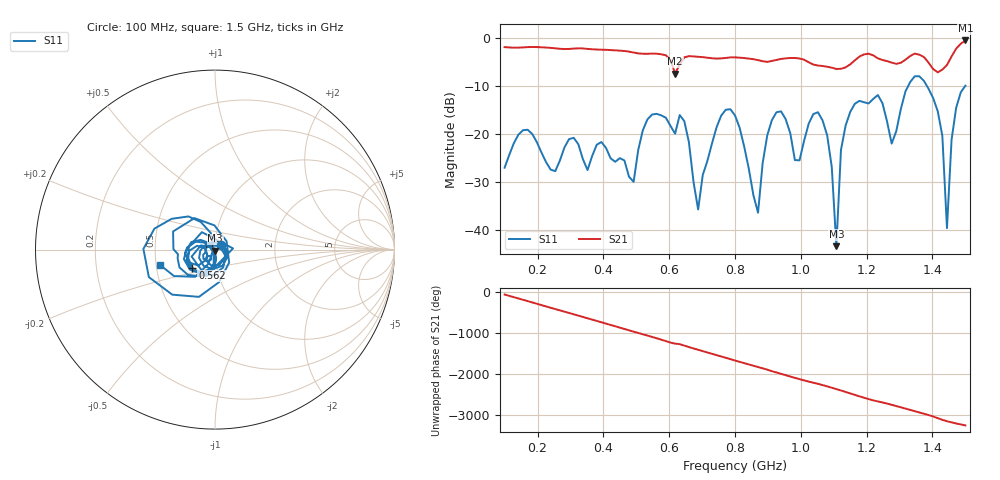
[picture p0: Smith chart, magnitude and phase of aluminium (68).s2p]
! NanoVNA-App
! Date: 2025-09-25 14:55:48
! Start: 100MHz Stop: 1,5GHz Points: 101
! S-Parameter data: F S11 S21 S12 S22
# Hz S RI R 50
!  Frequency  S11_Real  S11_Imag  S21_Real  S21_Imag  S12_Real  S12_Imag  S22_Real  S22_Imag
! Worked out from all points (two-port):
!   101 points, 100 MHz to 1.5 GHz, reference 50 ohm
!   highest |S21| = -0.54 dB at 1.5 GHz (marker M1); lowest = -7.4 dB at 618 MHz (marker M2)
!   |S21| within 3 dB of the highest: start of sweep to 584.9 MHz; 1.461 GHz to end of sweep (the widest 2 of 4)
!   lowest |S11| = -43.3 dB at 1.108 GHz (marker M3), VSWR 1.01, Z = 50.1 - j0.668 ohm
!   |S11| at or under -10 dB: start of sweep to 1.326 GHz; 1.383 GHz to 1.499 GHz (116.3 MHz wide, 8.07 % of centre)
!   S12 and S22 are empty: the file has one direction only
!   S11 on the Smith chart (normalised r, x): 100 MHz: 1.07, +0.06; 562 MHz: 0.76, -0.16; 1.5 GHz: 0.52, -0.10
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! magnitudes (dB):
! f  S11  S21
! 100 MHz  -27.0  -1.9
! 338 MHz  -25.3  -2.2
! 492 MHz  -30.0  -3.0
! 562 MHz  -15.8  -3.3
! 576 MHz  -16.1  -3.4
! 618 MHz  -19.9  -7.4
! 688 MHz  -35.7  -3.9
! 800 MHz  -16.1  -4.0
! 870 MHz  -36.4  -4.6
! 912 MHz  -17.1  -4.8
! 996 MHz  -25.5  -4.3
! 1.038 GHz  -15.8  -5.6
! 1.08 GHz  -20.3  -6.0
! 1.108 GHz  -43.3  -6.5
! 1.122 GHz  -23.3  -6.4
! 1.15 GHz  -15.4  -5.5
! 1.276 GHz  -22.0  -5.1
! 1.374 GHz  -8.9  -4.0
! 1.43 GHz  -20.4  -6.6
! 1.444 GHz  -39.6  -5.6
! 1.458 GHz  -21.2  -3.9
! 1.5 GHz  -9.9  -0.5
